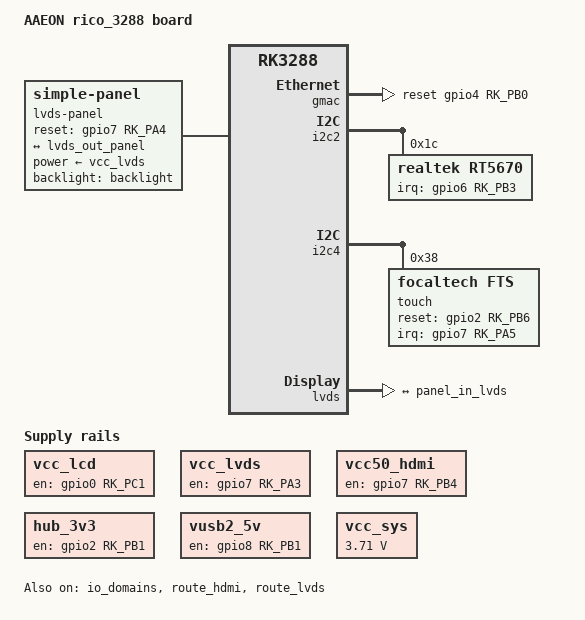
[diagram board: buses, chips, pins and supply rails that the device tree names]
/*
 * Copyright (c) 2020 AAEON Technology Inc.
 *
 * SPDX-License-Identifier: (GPL-2.0+ OR MIT)
 */

/dts-v1/;
#include "rk3288-evb-android-rk808-edp.dtsi"

/delete-node/ &edp;
/delete-node/ &hdmi_analog_sound;
/delete-node/ &route_edp;
/delete-node/ &vcc_lcd;
/delete-node/ &vcc_wl;
/delete-node/ &vopb_out_edp;
/delete-node/ &vopl_out_edp;

/ {
	model = "AAEON rico_3288 board";
	compatible = "rockchip,rk3288-evb-android-rk808-edp", "rockchip,rk3288";
	chosen: chosen {
		bootargs = "earlycon=uart8250,mmio32,0xff690000 vmalloc=496M swiotlb=1 console=ttyFIQ0 androidboot.baseband=N/A androidboot.veritymode=enforcing androidboot.hardware=rk30board androidboot.console=ttyFIQ0 init=/init kpti=0 snd_soc_rt5670.quirk=0x040C";
	};

	/delete-node/ panel;

	lvds-panel {
		status = "okay";
		compatible ="simple-panel";
		backlight = <&backlight>;
		power-supply = <&vcc_lvds>;
		reset-gpios = <&gpio7 RK_PA4 GPIO_ACTIVE_HIGH>;
		enable-delay-ms = <20>;
		prepare-delay-ms = <20>;
		unprepare-delay-ms = <20>;
		disable-delay-ms = <20>;
		bus-format = <MEDIA_BUS_FMT_RGB666_1X7X3_SPWG>; // vesa-18

		display-timings {
			native-mode = <&timing0>;

			timing0: timing0 {
				clock-frequency = <83500000>;
				hactive = <1280>;
				vactive = <800>;
				hsync-len = <18>;
				hback-porch = <56>;
				hfront-porch = <56>;
				vsync-len = <67>;
				vback-porch = <60>;
				vfront-porch = <60>;
				hsync-active = <0>;
				vsync-active = <0>;
				de-active = <0>;
				pixelclk-active = <0>;
			};
		};

		port {
			panel_in_lvds: endpoint {
				remote-endpoint = <&lvds_out_panel>;
			};
		};
	};

	vcc_lcd: vcc-lcd {
		compatible = "regulator-fixed";
		regulator-name = "vcc_lcd";
		gpio = <&gpio0 RK_PC1 GPIO_ACTIVE_HIGH>;
		startup-delay-us = <20000>;
		enable-active-high;
		regulator-boot-on;
	};

	vcc_lvds: vcc-lvds {
		compatible = "regulator-fixed";
		regulator-name = "vcc_lvds";
		gpio = <&gpio7 RK_PA3 GPIO_ACTIVE_HIGH>;
		startup-delay-us = <20000>;
		enable-active-high;
		regulator-boot-on;
	};

	vcc50_hdmi: vcc50-hdmi {
		compatible = "regulator-fixed";
		regulator-name = "vcc50_hdmi";
		regulator-always-on;
		enable-active-high;
		gpio = <&gpio7 RK_PB4 GPIO_ACTIVE_HIGH>;
		pinctrl-names = "default";
		pinctrl-0 = <&hdmi_en>;
	};

	hub_3v3: hub-3v3 {
		compatible = "regulator-fixed";
		enable-active-high;
		gpio = <&gpio2 RK_PB1 GPIO_ACTIVE_HIGH>;
		pinctrl-names = "default";
		pinctrl-0 = <&phy_pwr_en>;
		regulator-name = "hub_3v3";
		regulator-always-on;
	};

	vusb2_5v: vusb2-5v {
		compatible = "regulator-fixed";
		enable-active-high;
		gpio = <&gpio8 RK_PB1 GPIO_ACTIVE_HIGH>;
		pinctrl-names = "default";
		pinctrl-0 = <&usb2_pwr_en>;
		regulator-name = "vusb2_5v";
		regulator-always-on;
	};

	wireless-wlan {
		wifi_chip_type = "ap6255";
	};
};

&gmac {
	snps,reset-gpio = <&gpio4 RK_PB0 GPIO_ACTIVE_HIGH>;
};

&i2c0 {
	/delete-node/ CW2015@62;
};

&i2c1 {
	/delete-node/ ak8963-compass@0d;
	/delete-node/ mpu-acc@68;
	/delete-node/ mpu-gyro@68;
};

&i2c2 {
	/delete-node/ rt5640@1c;

	rt5670: rt5670@1c {
		#sound-dai-cells = <0>;
		compatible = "realtek,rt5670";
		reg = <0x1c>;
		clocks = <&cru SCLK_I2S0_OUT>;
		clock-names = "mclk";
		interrupt-parent = <&gpio6>;
		interrupts = <RK_PB3 IRQ_TYPE_EDGE_FALLING>;
		pinctrl-names = "default";
		pinctrl-0 = <&i2s0_mclk>;
	};
};

&i2c4 {
	/delete-node/ gsl3673@40;

	touch@38 {
		compatible = "focaltech,fts";
		status = "okay";
		reg = <0x38>;
		focaltech,reset-gpio = <&gpio2 RK_PB6 GPIO_ACTIVE_HIGH>;
		focaltech,irq-gpio = <&gpio7 RK_PA5 IRQ_TYPE_EDGE_FALLING>;
		focaltech,max-touch-number = <5>;
		focaltech,display-coords = <0 0 800 1280>;
		pinctrl-names = "default";
		pinctrl-0 = <&fts_irq_gpio>;
	};
};

&io_domains {
	status = "okay";

	audio-supply = <&vcc_18>;
	dvp-supply = <&vcc_18>;
	flash1-supply = <&vcc_lan>;
	lcdc-supply = <&vcc_io>;
	wifi-supply = <&vcc_18>;
};

&isp_mmu {
	status = "okay";
};

&backlight {
	default-brightness-level = <204>;
	pwms = <&pwm0 0 25000 0>;
};

&dsi0 {
	status = "disabled";
	panel@0 {
		compatible = "simple-panel-dsi";
		reg = <0>;
		backlight = <&backlight>;
		power-supply = <&vcc_lcd>;
		reset-gpios = <&gpio7 RK_PA4 GPIO_ACTIVE_HIGH>;
		pinctrl-0 = <&lcd_rst>;
		prepare-delay-ms = <100>;
		enable-delay-ms = <120>;
		reset-delay-ms = <20>;
		init-delay-ms = <20>;

		dsi,flags = <(MIPI_DSI_MODE_VIDEO | MIPI_DSI_MODE_VIDEO_BURST |
			     MIPI_DSI_MODE_LPM | MIPI_DSI_MODE_EOT_PACKET)>;
		dsi,format = <MIPI_DSI_FMT_RGB888>;
		dsi,lanes = <4>;

		panel-init-sequence = [
			39 00 04 b9 ff 83 94
			39 00 05 d9 00 8b 02 07
			39 00 03 ba 73 83
			39 00 10 b1 6c 15 15 24 e4 11 f1 80 e8 de 23 80 c0 d2 58
			39 00 0b b2 00 64 10 07 20 1c 08 08 1c 4d
			39 00 0d b4 00 ff 03 5a 03 5a 03 5a 01 6a 01 6a
			39 00 03 b6 40 40
			15 00 02 cc 01
			39 00 1f d3 00 06 00 40 1a 08 00 32 10 07 00 07 54 15 0f 05 04 02 12 10 05 07 33 33 0b 0b 37 10 07 07
			39 00 2d d5 19 19 18 18 1a 1a 1b 1b 04 05 06 07 00 01 02 03 20 21 18 18 18 18 18 18 18 18 18 18 18 18 22 23 18 18 18 18 18 18 18 18 18 18 18 18
			39 00 2d d6 18 18 19 19 1a 1a 1b 1b 03 02 01 00 07 06 05 04 23 22 18 18 18 18 18 18 18 18 18 18 18 18 21 20 18 18 18 18 18 18 18 18 18 18 18 18
			39 00 2b e0 00 06 0c 31 34 3f 1d 41 06 0a 0c 17 0f 12 15 13 14 07 12 15 16 00 06 0b 30 34 3f 1f 40 07 0a 0d 18 0e 12 14 12 14 08 13 14 19
			15 00 02 cc 09
			15 00 02 d2 55
			39 00 03 c0 30 14
			39 00 04 bf 41 0e 01
			39 00 05 c7 00 c0 40 c0
			15 00 02 df 8e
			05 00 01 11
			05 08 01 29
		];

		display-timings {
			native-mode = <&timing_dsi>;

			timing_dsi: timing_dsi {
				clock-frequency = <67000000>;
				hactive = <800>;
				vactive = <1280>;
				hback-porch = <18>;
				hfront-porch = <18>;
				vback-porch = <16>;
				vfront-porch = <6>;
				hsync-len = <18>;
				vsync-len = <4>;
				hsync-active = <0>;
				vsync-active = <0>;
				de-active = <0>;
				pixelclk-active = <0>;
			};
		};
	};
};

&route_dsi0 {
	status = "disabled";
};

&route_hdmi {
	status = "okay";
};

&lvds {
	status = "okay";

	ports {
		port@0 {
			endpoint@0 {
				status = "disabled";
			};

			endpoint@1 {
				status = "okay";
			};
		};

		port@1 {
			reg = <1>;

			lvds_out_panel: endpoint {
				remote-endpoint = <&panel_in_lvds>;
			};
		};
	};
};

&route_lvds {
	status = "okay";
};

&vcc_sys {
	regulator-min-microvolt = <3710000>;
	regulator-max-microvolt = <3710000>;
};

&vopb {
	assigned-clocks = <&cru DCLK_VOP0>;
	assigned-clock-parents = <&cru PLL_GPLL>;
};

&vopl {
	assigned-clocks = <&cru DCLK_VOP1>;
	assigned-clock-parents = <&cru PLL_CPLL>;
};

&rk808 {
	vcc7-supply = <&vcc_sys>;
	vcc9-supply = <&vcc_sys>;
	vcc10-supply = <&vcc_sys>;
	vcc11-supply = <&vcc_sys>;

	regulators {
		DCDC_REG1 {
			regulator-min-microvolt = <700000>;
			regulator-max-microvolt = <1500000>;
		};

		DCDC_REG2 {
			regulator-min-microvolt = <700000>;
			regulator-max-microvolt = <1500000>;
		};

		vcc_gps: LDO_REG4 {
			regulator-always-on;
			regulator-boot-on;
			regulator-min-microvolt = <3300000>;
			regulator-max-microvolt = <3300000>;
			regulator-name = "vcc_gps";
			regulator-state-mem {
				regulator-on-in-suspend;
			};
		};

		LDO_REG5 {
			regulator-min-microvolt = <3300000>;
		};

		vcc_lan: SWITCH_REG2 {
			regulator-always-on;
			regulator-boot-on;
			regulator-name = "vcc_lan";
			regulator-state-mem {
				regulator-off-in-suspend;
			};
		};
	};
};

&pinctrl {
	fts {
		fts_irq_gpio: fts-irq-gpio {
			rockchip,pins = <7 RK_PA5 RK_FUNC_GPIO &pcfg_pull_none>;
		};
	};

	hdmi {
		hdmi_en: hdmi-en {
			rockchip,pins = <7 12 RK_FUNC_GPIO &pcfg_pull_up>;
		};
	};

	i2c3 {
		i2c3-xfer {
			rockchip,pins = <2 17 RK_FUNC_1 &pcfg_pull_up>,
					<2 16 RK_FUNC_1 &pcfg_pull_up>;
		};
	};

	lcd {
		lcd_rst: lcd-rst {
			rockchip,pins = <7 4 RK_FUNC_GPIO &pcfg_pull_none>;
		};
	};

	uart0 {
		uart0-rts {
			rockchip,pins = <4 RK_PC3 RK_FUNC_1 &pcfg_pull_none>,
					<4 RK_PD7 RK_FUNC_GPIO &pcfg_pull_none>;
		};
	};

	usb {
		phy_pwr_en: phy-pwr-en {
			rockchip,pins = <2 9 RK_FUNC_GPIO &pcfg_pull_none>;
		};
		usb2_pwr_en: usb2-pwr-en {
			rockchip,pins = <8 9 RK_FUNC_GPIO &pcfg_pull_none>;
		};
	};

	wireless-bluetooth {
		uart0_gpios: uart0-gpios {
			rockchip,pins = <4 RK_PC3 RK_FUNC_GPIO &pcfg_pull_none>,
					<4 RK_PD7 RK_FUNC_GPIO &pcfg_pull_none>;
		};
	};
};

&sound {
	simple-audio-card,name = "realtek,rt5670-codec";
	simple-audio-card,routing =
		"IN1P", "Microphone Jack",
		"IN1N", "Microphone Jack",
		"Microphone Jack", "MICBIAS2",
		"Headphone Jack", "HPOL",
		"Headphone Jack", "HPOR";

	simple-audio-card,dai-link@0 {
		codec {
			sound-dai = <&rt5670>;
		};
	};
};
